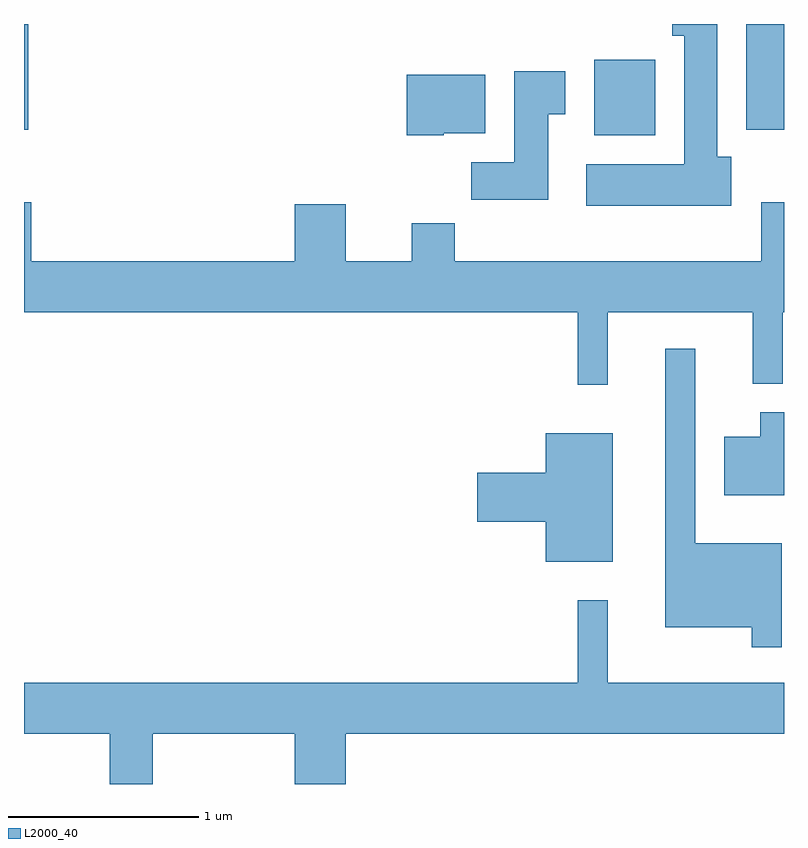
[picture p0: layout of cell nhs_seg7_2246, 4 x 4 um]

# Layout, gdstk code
import gdstk
lib = gdstk.Library(unit=1e-6, precision=1e-09)
def R(c, l, rs):  # rectangles x0, y0, x1, y1
    for r in rs: c.add(gdstk.rectangle(r[:2], r[2:], *l))
def P(c, l, *ps):  # polygons
    for p in ps: c.add(gdstk.Polygon(p, *l))
L2000_40 = (2000, 40)

nhs_seg7_2246 = lib.new_cell('nhs_seg7_2246')
R(nhs_seg7_2246, L2000_40, [(256.611,1739.666,256.934,1740.064), (253.611,1739.696,253.634,1740.252), (257.411,1739.696,257.611,1740.252)])
P(nhs_seg7_2246, L2000_40, [(257.334,1739.554),(257.259,1739.554),(257.259,1740.252),(257.022,1740.252),(257.022,1740.191),(257.086,1740.191),(257.086,1739.514),(256.571,1739.514),(256.571,1739.296),(257.334,1739.296)],
  [(256.369,1739.776),(256.459,1739.776),(256.459,1740.004),(256.191,1740.004),(256.191,1739.524),(255.966,1739.524),(255.966,1739.326),(256.369,1739.326)],
  [(255.82,1739.676),(256.039,1739.676),(256.039,1739.984),(255.626,1739.984),(255.626,1739.666),(255.82,1739.666)],
  [(256.684,1738.736),(257.446,1738.736),(257.446,1738.358),(257.604,1738.358),(257.604,1738.736),(257.611,1738.736),(257.611,1739.314),(257.491,1739.314),(257.491,1739.004),(255.879,1739.004),(255.879,1739.204),(255.651,1739.204),(255.651,1739.004),(255.304,1739.004),(255.304,1739.304),(255.036,1739.304),(255.036,1739.004),(253.649,1739.004),(253.649,1739.314),(253.611,1739.314),(253.611,1738.736),(256.526,1738.736),(256.526,1738.353),(256.684,1738.353)],
  [(257.599,1737.519),(257.144,1737.519),(257.144,1738.543),(256.986,1738.543),(256.986,1737.076),(257.441,1737.076),(257.441,1736.973),(257.599,1736.973)],
  [(257.611,1738.209),(257.486,1738.209),(257.486,1738.079),(257.296,1738.079),(257.296,1737.771),(257.611,1737.771)],
  [(256.709,1738.099),(256.356,1738.099),(256.356,1737.889),(255.996,1737.889),(255.996,1737.631),(256.356,1737.631),(256.356,1737.421),(256.709,1737.421)],
  [(254.289,1736.516),(255.036,1736.516),(255.036,1736.252),(255.304,1736.252),(255.304,1736.516),(257.611,1736.516),(257.611,1736.784),(256.684,1736.784),(256.684,1737.218),(256.526,1737.218),(256.526,1736.784),(253.611,1736.784),(253.611,1736.516),(254.061,1736.516),(254.061,1736.252),(254.289,1736.252)])

lib.write_gds('nhs_seg7_2246.gds')
